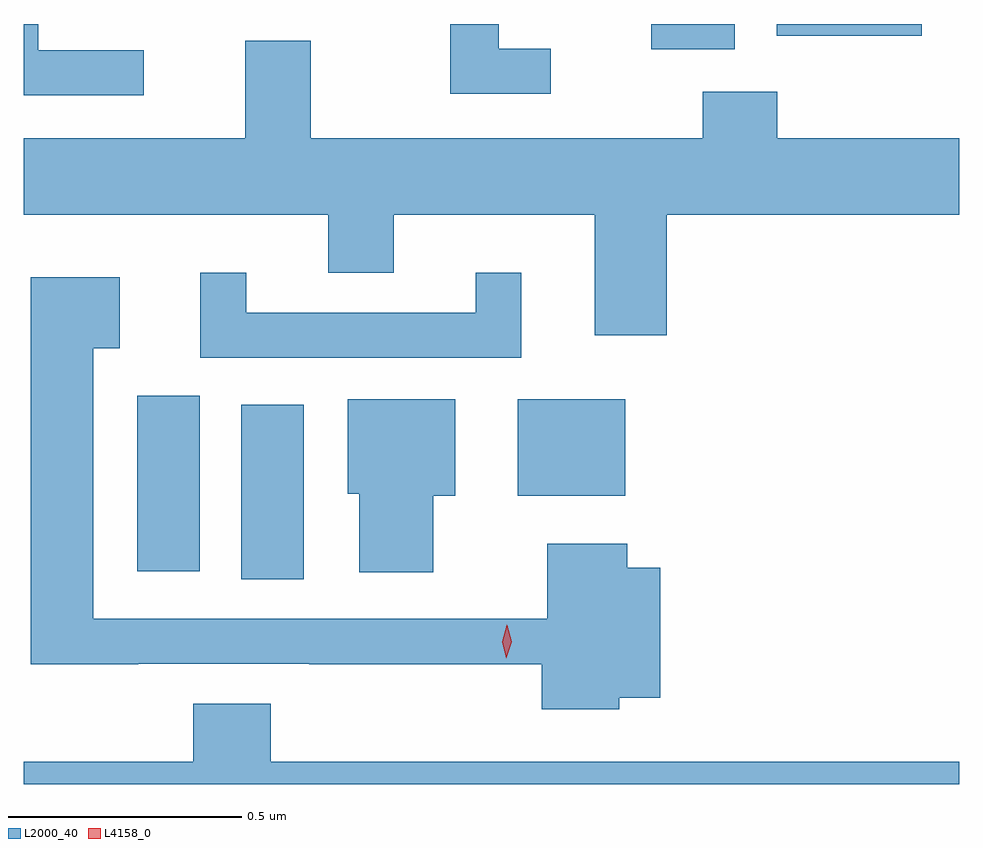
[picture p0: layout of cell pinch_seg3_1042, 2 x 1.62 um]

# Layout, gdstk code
import gdstk
lib = gdstk.Library(unit=1e-6, precision=1e-09)
def R(c, l, rs):  # rectangles x0, y0, x1, y1
    for r in rs: c.add(gdstk.rectangle(r[:2], r[2:], *l))
def P(c, l, *ps):  # polygons
    for p in ps: c.add(gdstk.Polygon(p, *l))
L2000_40 = (2000, 40)
L4158_0 = (4158, 0)

pinch_seg3_1042 = lib.new_cell('pinch_seg3_1042')
R(pinch_seg3_1042, L2000_40, [(618.014,666.838,618.148,667.21), (617.792,666.855,617.926,667.23), (618.605,667.016,618.835,667.222), (618.89,667.97,619.069,668.024), (619.158,667.999,619.468,668.024)])
P(pinch_seg3_1042, L2000_40, [(618.676,667.971),(618.565,667.971),(618.565,668.024),(618.461,668.024),(618.461,667.875),(618.676,667.875)],
  [(617.806,667.968),(617.581,667.968),(617.581,668.024),(617.549,668.024),(617.549,667.872),(617.806,667.872)],
  [(618.923,667.616),(619.549,667.616),(619.549,667.78),(619.16,667.78),(619.16,667.879),(619,667.879),(619,667.78),(618.163,667.78),(618.163,667.988),(618.023,667.988),(618.023,667.78),(617.549,667.78),(617.549,667.616),(618.2,667.616),(618.2,667.492),(618.34,667.492),(618.34,667.616),(618.77,667.616),(618.77,667.359),(618.923,667.359)],
  [(618.613,667.492),(618.515,667.492),(618.515,667.407),(618.025,667.407),(618.025,667.492),(617.927,667.492),(617.927,667.311),(618.613,667.311)],
  [(618.822,666.584),(618.91,666.584),(618.91,666.862),(618.839,666.862),(618.839,666.913),(618.668,666.913),(618.668,666.753),(617.698,666.753),(617.698,667.331),(617.755,667.331),(617.755,667.483),(617.564,667.483),(617.564,666.656),(617.794,666.656),(617.794,666.657),(618.16,666.657),(618.16,666.656),(618.656,666.656),(618.656,666.56),(618.822,666.56)],
  [(618.424,667.016),(618.472,667.016),(618.472,667.222),(618.242,667.222),(618.242,667.02),(618.266,667.02),(618.266,666.852),(618.424,666.852)],
  [(619.549,666.448),(618.077,666.448),(618.077,666.572),(617.912,666.572),(617.912,666.448),(617.549,666.448),(617.549,666.4),(619.549,666.4)])
P(pinch_seg3_1042, L4158_0, [(618.581,666.669),(618.581,666.669),(618.572,666.704),(618.582,666.739),(618.582,666.74),(618.583,666.739),(618.592,666.704),(618.581,666.669)])

lib.write_gds('pinch_seg3_1042.gds')
